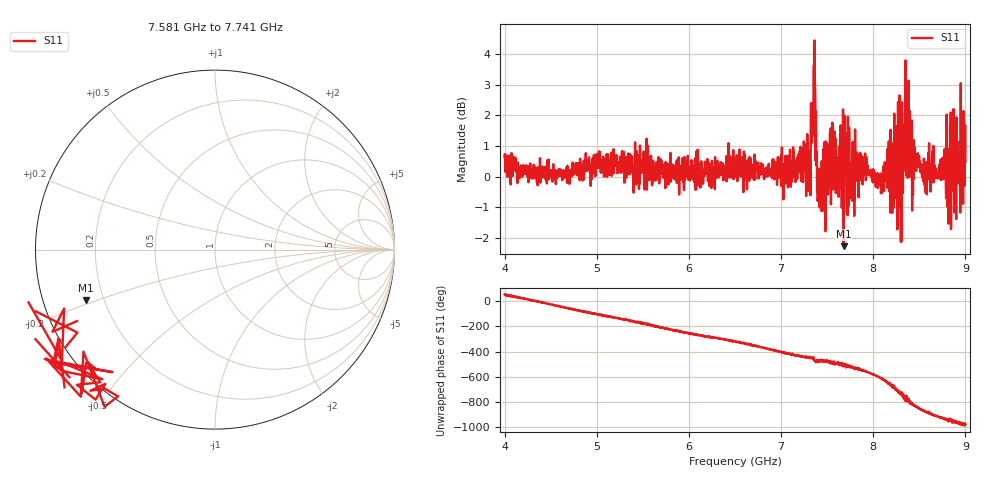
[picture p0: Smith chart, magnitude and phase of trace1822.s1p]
! Created with skrf 1.8.0 (http://scikit-rf.org).
# Hz S RI R 50.0
!freq ReS11 ImS11
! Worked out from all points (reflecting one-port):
!   1601 points, 4 GHz to 9 GHz, reference 50 ohm
!   lowest |S11| = -2.3 dB at 7.678 GHz (marker M1), VSWR 7.73, Z = 6.69 - j9.24 ohm
!   phase of S11 starts at 53 deg and turns -1031 deg over the sweep
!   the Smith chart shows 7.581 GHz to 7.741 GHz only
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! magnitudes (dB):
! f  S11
! 4 GHz  0.6
! 4.625 GHz  -0.1
! 5.25 GHz  0.1
! 5.875 GHz  0.3
! 6.5 GHz  0.4
! 7.125 GHz  0.0
! 7.294 GHz  -0.5
! 7.319 GHz  -0.6
! 7.347 GHz  2.4
! 7.369 GHz  2.9
! 7.4 GHz  -0.7
! 7.422 GHz  -0.8
! 7.512 GHz  0.5
! 7.616 GHz  -0.1
! 7.65 GHz  1.1
! 7.678 GHz  -2.3
! 7.75 GHz  -0.7
! 7.769 GHz  -0.7
! 7.822 GHz  0.4
! 8.209 GHz  0.4
! 8.262 GHz  -1.7
! 8.312 GHz  2.4
! 8.334 GHz  0.8
! 8.347 GHz  1.2
! 8.375 GHz  0.9
! 8.425 GHz  0.2
! 8.556 GHz  -0.3
! 9 GHz  0.5
